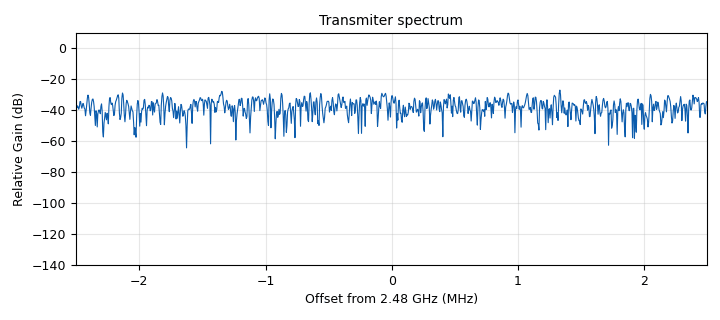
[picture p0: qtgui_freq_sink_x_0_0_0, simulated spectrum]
<?xml version='1.0' encoding='utf-8'?>
<?grc format='1' created='3.7.12'?>
<flow_graph>
<block>
<key>options</key>
<param><key>id</key><value>jammer</value></param>
<param><key>generate_options</key><value>qt_gui</value></param>
</block>
<block>
<key>variable_qtgui_check_box</key>
<param><key>id</key><value>enable_tx</value></param>
<param><key>value</key><value>True</value></param>
<param><key>false</key><value>0</value></param>
<param><key>true</key><value>1</value></param>
<param><key>type</key><value>raw</value></param>
</block>
<block>
<key>variable_qtgui_range</key>
<param><key>id</key><value>gain_tx</value></param>
<param><key>value</key><value>30</value></param>
<param><key>orient</key><value>Qt.Horizontal</value></param>
<param><key>start</key><value>0</value></param>
<param><key>step</key><value>1</value></param>
<param><key>stop</key><value>90</value></param>
</block>
<block>
<key>variable_qtgui_range</key>
<param><key>id</key><value>samp_rate_tx</value></param>
<param><key>value</key><value>5e6</value></param>
<param><key>orient</key><value>Qt.Horizontal</value></param>
<param><key>start</key><value>5e6</value></param>
<param><key>step</key><value>1e6</value></param>
<param><key>stop</key><value>24e6</value></param>
</block>
<block>
<key>variable_qtgui_range</key>
<param><key>id</key><value>tx_center_freq</value></param>
<param><key>value</key><value>2480e6</value></param>
<param><key>orient</key><value>Qt.Horizontal</value></param>
<param><key>start</key><value>2470e6</value></param>
<param><key>step</key><value>5e6</value></param>
<param><key>stop</key><value>2480e6</value></param>
</block>
<block>
<key>analog_fastnoise_source_x</key>
<param><key>id</key><value>analog_fastnoise_source_x_0</value></param>
<param><key>amp</key><value>1</value></param>
<param><key>noise_type</key><value>analog.GR_GAUSSIAN</value></param>
<param><key>type</key><value>complex</value></param>
<param><key>seed</key><value>0</value></param>
<param><key>samples</key><value>8192</value></param>
</block>
<block>
<key>blocks_multiply_const_vxx</key>
<param><key>id</key><value>blocks_multiply_const_vxx_1_0</value></param>
<param><key>const</key><value>enable_tx</value></param>
<param><key>type</key><value>complex</value></param>
<param><key>vlen</key><value>enable_tx</value></param>
</block>
<block>
<key>qtgui_freq_sink_x</key>
<param><key>id</key><value>qtgui_freq_sink_x_0_0_0</value></param>
<param><key>bw</key><value>samp_rate_tx</value></param>
<param><key>fc</key><value>tx_center_freq</value></param>
<param><key>ctrlpanel</key><value>True</value></param>
<param><key>fftsize</key><value>1024</value></param>
<param><key>grid</key><value>True</value></param>
<param><key>name</key><value>Transmiter spectrum</value></param>
<param><key>showports</key><value>True</value></param>
<param><key>type</key><value>complex</value></param>
<param><key>wintype</key><value>firdes.WIN_BLACKMAN_hARRIS</value></param>
</block>
<block>
<key>uhd_usrp_sink</key>
<param><key>id</key><value>uhd_usrp_sink_0</value></param>
<param><key>ant0</key><value>TX/RX</value></param>
<param><key>center_freq0</key><value>tx_center_freq</value></param>
<param><key>norm_gain0</key><value>False</value></param>
<param><key>gain0</key><value>gain_tx</value></param>
<param><key>clock_rate</key><value>0.0</value></param>
<param><key>dev_addr</key><value></value></param>
<param><key>dev_args</key><value>""</value></param>
<param><key>type</key><value>fc32</value></param>
<param><key>samp_rate</key><value>samp_rate_tx</value></param>
<param><key>hide_cmd_port</key><value>False</value></param>
<param><key>hide_lo_controls</key><value>True</value></param>
<param><key>sync</key><value></value></param>
<param><key>len_tag_name</key><value></value></param>
</block>
<connection><source_block_id>analog_fastnoise_source_x_0</source_block_id><sink_block_id>blocks_multiply_const_vxx_1_0</sink_block_id><source_key>0</source_key><sink_key>0</sink_key></connection>
<connection><source_block_id>blocks_multiply_const_vxx_1_0</source_block_id><sink_block_id>qtgui_freq_sink_x_0_0_0</sink_block_id><source_key>0</source_key><sink_key>0</sink_key></connection>
<connection><source_block_id>blocks_multiply_const_vxx_1_0</source_block_id><sink_block_id>uhd_usrp_sink_0</sink_block_id><source_key>0</source_key><sink_key>0</sink_key></connection>
</flow_graph>
